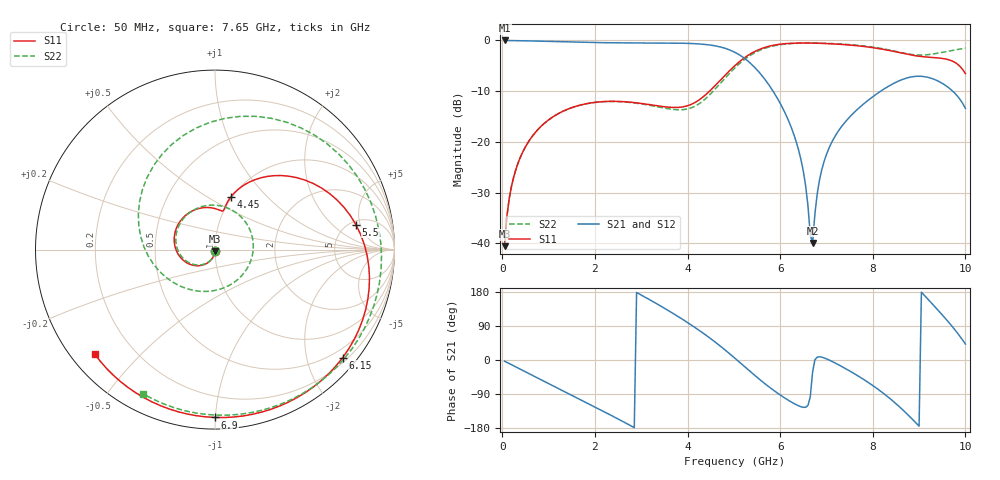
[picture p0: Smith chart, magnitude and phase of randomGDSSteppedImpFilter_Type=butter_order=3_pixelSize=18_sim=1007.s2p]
! freq	dB(S11)	phase(S11)	dB(S12)	phase(S12)
!  dB(S21)	phase(S21)	dB(S22)	phase(S22)
!S-par simulation data
#  GHz  S  DB  R 50
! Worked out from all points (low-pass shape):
!   200 points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, 50 MHz to 10 GHz, reference 50 ohm
!   highest |S21| = -0.01 dB at 50 MHz (marker M1); lowest = -39.9 dB at 6.7 GHz (marker M2)
!   |S21| within 3 dB of the highest: start of sweep to 5.148 GHz
!   lowest |S11| = -40.5 dB at 50 MHz (marker M3), VSWR 1.02, Z = 50 - j0.94 ohm
!   |S11| at or under -10 dB: start of sweep to 4.475 GHz
!   |S22| runs from -40.5 to -0.5 dB; largest |S21 - S12| = 0
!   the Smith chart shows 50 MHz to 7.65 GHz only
!   S11 on the Smith chart (normalised r, x): 50 MHz: 1.00, -0.02; 4.45 GHz: 0.99, +0.64; 5.5 GHz: 5.57, +4.24; 6.15 GHz: 0.30, -2.71; 6.9 GHz: 0.07, -1.00; 7.65 GHz: 0.07, -0.37
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0.05  -40.53 -91.8  -0.01 -3.2  -0.01 -3.2  -40.53 -92.0
0.2  -28.67 -102.0  -0.03 -12.6  -0.03 -12.6  -28.67 -102.7
0.5  -20.96 -120.8  -0.08 -31.2  -0.08 -31.2  -20.96 -122.4
1.15  -14.73 -159.9  -0.24 -71.4  -0.24 -71.4  -14.74 -164.4
1.75  -12.59 165.5  -0.38 -108.4  -0.38 -108.4  -12.60 156.1
2.65  -12.08 117.7  -0.48 -165.4  -0.48 -165.4  -12.13 90.5
3.4  -12.95 87.1  -0.51 143.8  -0.51 143.8  -13.16 20.4
3.95  -12.99 77.6  -0.57 102.8  -0.57 102.8  -13.58 -52.2
4.45  -10.22 73.1  -0.86 60.8  -0.86 60.8  -10.96 -134.7
5.05  -4.74 45.0  -2.48 1.8  -2.48 1.8  -5.16 133.3
5.5  -1.97 10.0  -5.79 -45.5  -5.79 -45.5  -2.19 72.9
6.15  -0.61 -40.2  -15.16 -104.2  -15.16 -104.2  -0.69 2.5
6.5  -0.51 -64.2  -25.76 -124.9  -25.76 -124.9  -0.53 -28.0
6.7  -0.53 -77.2  -39.90 -32.4  -39.90 -32.4  -0.52 -44.0
6.9  -0.58 -90.0  -25.42 7.4  -25.42 7.4  -0.55 -59.3
7.65  -1.03 -139.0  -13.73 -39.7  -13.73 -39.7  -0.94 -116.4
8.35  -1.97 169.0  -8.97 -99.6  -8.97 -99.6  -1.88 175.9
8.75  -2.73 135.4  -7.36 -143.5  -7.36 -143.5  -2.64 121.3
9  -3.12 112.7  -7.06 -174.6  -7.06 -174.6  -2.88 81.3
9.45  -3.49 64.0  -8.20 125.9  -8.20 125.9  -2.44 12.5
9.75  -4.21 19.3  -10.20 83.3  -10.20 83.3  -1.92 -24.0
10  -6.52 -38.6  -13.38 42.1  -13.38 42.1  -1.52 -48.8
